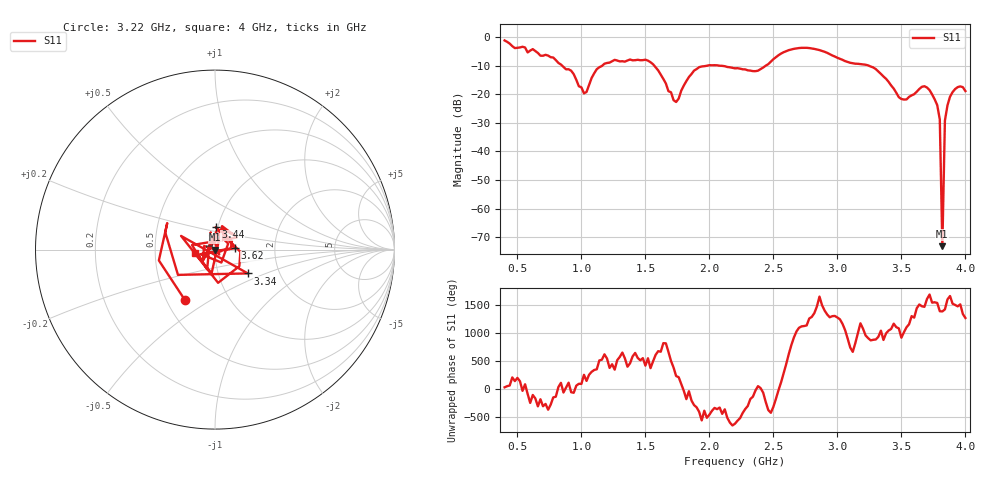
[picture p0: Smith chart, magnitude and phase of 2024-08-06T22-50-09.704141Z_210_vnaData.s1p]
!Created with skrf (http://scikit-rf.org).
# Hz S RI R 50.0
!freq ReS11 ImS11
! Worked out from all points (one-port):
!   181 points, 400 MHz to 4 GHz, reference 50 ohm
!   lowest |S11| = -73.2 dB at 3.82 GHz (marker M1), VSWR 1.00, Z = 50 - j0.0175 ohm
!   |S11| at or under -10 dB: 1.568 GHz to 1.987 GHz (418.3 MHz wide, 23.5 % of centre); 2.073 GHz to 2.441 GHz (368.6 MHz wide, 16.3 % of centre); 3.243 GHz to end of sweep (the widest 3 of 4)
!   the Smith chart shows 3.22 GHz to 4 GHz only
!   S11 on the Smith chart (normalised r, x): 3.22 GHz: 0.62, -0.39; 3.34 GHz: 1.38, -0.39; 3.44 GHz: 0.98, +0.25; 3.62 GHz: 1.25, +0.02; 4 GHz: 0.80, -0.03
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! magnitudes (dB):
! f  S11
! 400 MHz  -1.2
! 860 MHz  -10.5
! 920 MHz  -11.8
! 1.02 GHz  -19.7
! 1.12 GHz  -11.3
! 1.3 GHz  -8.5
! 1.54 GHz  -8.8
! 1.72 GHz  -22.1
! 1.76 GHz  -21.5
! 1.84 GHz  -14.0
! 1.92 GHz  -10.6
! 2.2 GHz  -11.0
! 2.38 GHz  -11.8
! 2.66 GHz  -4.1
! 3.1 GHz  -9.0
! 3.22 GHz  -9.7
! 3.34 GHz  -12.9
! 3.44 GHz  -18.1
! 3.5 GHz  -21.7
! 3.56 GHz  -20.9
! 3.62 GHz  -19.1
! 3.72 GHz  -18.6
! 3.78 GHz  -23.8
! 3.8 GHz  -28.9
! 3.82 GHz  -73.2
! 3.84 GHz  -29.2
! 3.9 GHz  -19.3
! 4 GHz  -18.9
